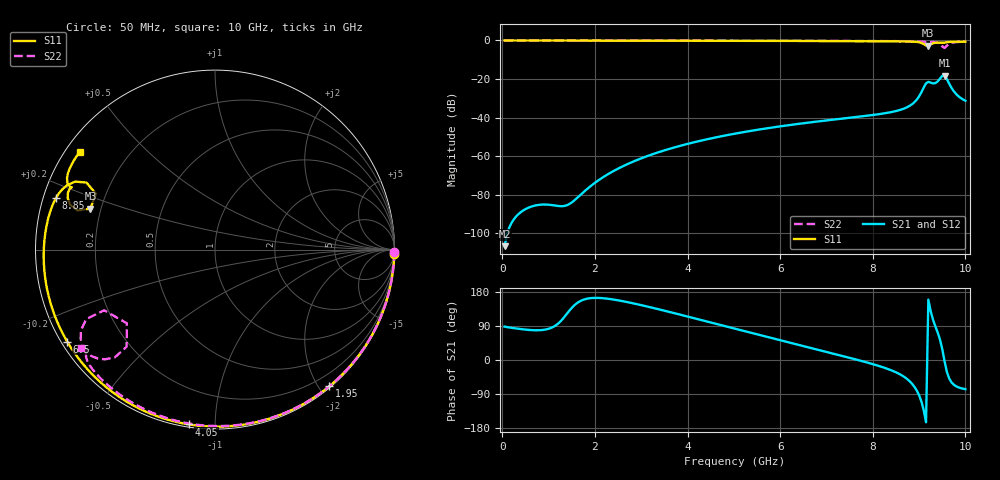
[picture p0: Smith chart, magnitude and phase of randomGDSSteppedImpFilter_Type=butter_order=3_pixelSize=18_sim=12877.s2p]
! freq	dB(S11)	phase(S11)	dB(S12)	phase(S12)
!  dB(S21)	phase(S21)	dB(S22)	phase(S22)
!S-par simulation data
#  GHz  S  DB  R 50
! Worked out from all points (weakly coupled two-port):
!   200 points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, 50 MHz to 10 GHz, reference 50 ohm
!   highest |S21| = -18.19 dB at 9.55 GHz (marker M1); lowest = -106.6 dB at 50 MHz (marker M2)
!   lowest |S11| = -2.7 dB at 9.2 GHz (marker M3), VSWR 6.44, Z = 7.96 + j7.83 ohm
!   |S11| at or under -10 dB: nowhere
!   |S22| runs from -3.9 to 0.0 dB; largest |S21 - S12| = 0
!   S11 on the Smith chart (normalised r, x): 50 MHz: 2, -90; 1.95 GHz: 0.02, -2.14; 4.05 GHz: 0.01, -0.86; 6.5 GHz: 0.02, -0.29; 8.85 GHz: 0.04, +0.16; 10 GHz: 0.04, +0.32
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0.05  -0.00 -1.3  -106.63 88.1  -106.63 88.1  -0.00 -0.8
0.85  -0.03 -22.3  -85.09 79.0  -85.09 79.0  -0.02 -14.5
1.65  -0.05 -42.6  -80.89 153.1  -80.89 153.1  -0.04 -28.0
1.75  -0.06 -45.1  -78.71 159.0  -78.71 159.0  -0.04 -29.7
1.95  -0.06 -50.1  -74.71 163.7  -74.71 163.7  -0.04 -33.0
2.6  -0.08 -65.7  -65.25 155.3  -65.25 155.3  -0.06 -43.6
3.4  -0.11 -84.1  -57.73 133.1  -57.73 133.1  -0.07 -56.4
4.05  -0.13 -98.4  -53.32 113.2  -53.32 113.2  -0.09 -66.5
5.05  -0.18 -119.3  -48.20 81.8  -48.20 81.8  -0.12 -81.4
6.5  -0.27 -148.1  -42.92 36.8  -42.92 36.8  -0.19 -102.1
6.7  -0.28 -152.0  -42.32 30.6  -42.32 30.6  -0.20 -104.9
8.35  -0.45 174.6  -37.37 -24.8  -37.37 -24.8  -0.33 -127.9
8.85  -0.62 162.0  -33.02 -63.0  -33.02 -63.0  -0.41 -136.0
9  -0.94 156.3  -28.99 -93.0  -28.99 -93.0  -0.51 -139.1
9.1  -1.85 152.5  -24.41 -132.5  -24.41 -132.5  -0.71 -141.3
9.2  -2.72 161.8  -21.46 159.3  -21.46 159.3  -0.90 -141.6
9.4  -1.12 158.8  -21.29 73.0  -21.29 73.0  -1.17 -148.9
9.5  -1.21 156.5  -18.37 29.2  -18.37 29.2  -3.05 -151.3
9.55  -1.14 156.6  -18.19 -3.2  -18.19 -3.2  -3.88 -140.1
9.65  -0.76 154.2  -22.41 -48.7  -22.41 -48.7  -1.74 -132.9
9.8  -0.64 149.4  -27.77 -69.4  -27.77 -69.4  -0.86 -138.8
10  -0.63 144.1  -31.25 -77.1  -31.25 -77.1  -0.67 -143.9
